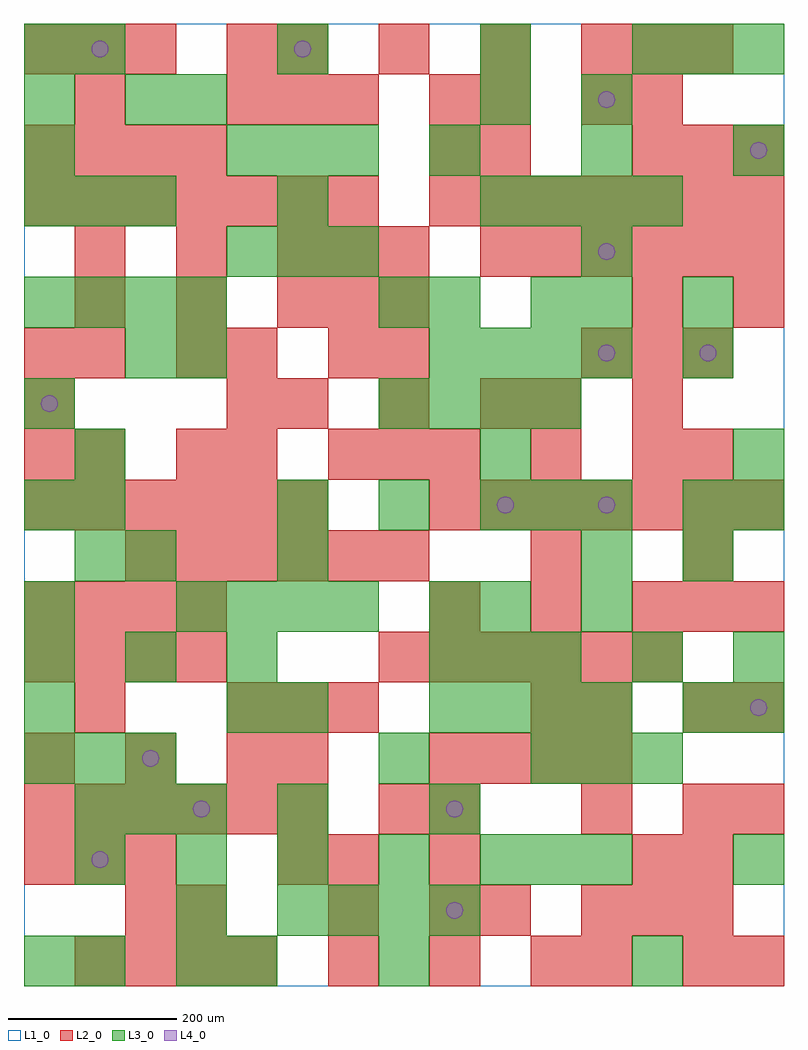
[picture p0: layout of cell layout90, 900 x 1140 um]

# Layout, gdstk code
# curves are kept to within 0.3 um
import gdstk
lib = gdstk.Library(unit=1e-6, precision=1e-09)
def R(c, l, rs):  # rectangles x0, y0, x1, y1
    for r in rs: c.add(gdstk.rectangle(r[:2], r[2:], *l))
def A(c, l, x, y, w, h, nx, ny, dx, dy):  # array of equal rectangles
    R(c, l, [(x+i*dx, y+j*dy, x+i*dx+w, y+j*dy+h) for i in range(nx) for j in range(ny)])
def P(c, l, *ps):  # polygons
    for p in ps: c.add(gdstk.Polygon(p, *l))
L1_0 = (1, 0)
L2_0 = (2, 0)
L3_0 = (3, 0)
L4_0 = (4, 0)

layout90 = lib.new_cell('layout90')
R(layout90, L1_0, [(0,0,900,1140)])
A(layout90, L2_0, 60, 0, 60, 60, 4, 1, 60, 0)
A(layout90, L2_0, 360, 0, 60, 60, 3, 1, 120, 0)
A(layout90, L2_0, 480, 60, 60, 60, 1, 3, 0, 60)
A(layout90, L2_0, 660, 60, 60, 60, 3, 2, 60, 660)
A(layout90, L2_0, 0, 120, 60, 60, 3, 2, 60, 960)
A(layout90, L2_0, 0, 180, 60, 60, 6, 2, 60, 360)
A(layout90, L2_0, 780, 180, 60, 60, 1, 3, 0, 120)
A(layout90, L2_0, 840, 180, 60, 60, 1, 3, 0, 120)
A(layout90, L2_0, 0, 240, 60, 60, 3, 1, 120, 0)
A(layout90, L2_0, 480, 240, 60, 60, 4, 1, 60, 0)
A(layout90, L2_0, 240, 300, 60, 60, 3, 2, 60, 720)
A(layout90, L2_0, 0, 360, 60, 60, 4, 2, 60, 60)
A(layout90, L2_0, 420, 360, 60, 60, 6, 1, 60, 0)
A(layout90, L2_0, 480, 420, 60, 60, 3, 1, 120, 0)
A(layout90, L2_0, 120, 480, 60, 60, 6, 1, 60, 0)
A(layout90, L2_0, 480, 540, 60, 60, 7, 2, 60, 360)
A(layout90, L2_0, 0, 600, 60, 60, 1, 3, 0, 60)
A(layout90, L2_0, 240, 600, 60, 60, 1, 3, 0, 60)
A(layout90, L2_0, 360, 600, 60, 60, 3, 1, 60, 0)
A(layout90, L2_0, 300, 660, 60, 60, 3, 1, 120, 0)
A(layout90, L2_0, 360, 720, 60, 60, 1, 3, 0, 60)
A(layout90, L2_0, 420, 720, 60, 60, 1, 3, 0, 60)
A(layout90, L2_0, 60, 780, 60, 60, 3, 2, 120, 60)
A(layout90, L2_0, 540, 840, 60, 60, 6, 1, 60, 0)
A(layout90, L2_0, 0, 900, 60, 60, 7, 1, 60, 0)
A(layout90, L2_0, 0, 960, 60, 60, 4, 1, 60, 0)
A(layout90, L2_0, 720, 960, 60, 60, 3, 1, 60, 0)
A(layout90, L2_0, 300, 1080, 60, 60, 4, 1, 120, 0)
R(layout90, L2_0, [(660,0,720,60), (780,0,840,60), (840,0,900,60), (120,60,180,120), (180,60,240,120), (360,60,420,120), (540,60,600,120), (300,120,360,180), (360,120,420,180), (720,120,780,180), (780,120,840,180), (420,180,480,240), (660,180,720,240), (300,240,360,300), (60,300,120,360), (600,300,660,360), (660,300,720,360), (600,480,660,540), (780,480,840,540), (60,600,120,660), (180,600,240,660), (600,600,660,660), (720,600,780,660), (780,600,840,660), (600,660,660,720), (720,660,780,720), (60,720,120,780), (180,720,240,780), (720,780,780,840), (840,780,900,840), (480,960,540,1020), (540,960,600,1020), (60,1020,120,1080), (480,1020,540,1080), (540,1020,600,1080), (660,1020,720,1080), (720,1020,780,1080), (240,1080,300,1140), (720,1080,780,1140), (780,1080,840,1140)])
A(layout90, L3_0, 300, 60, 60, 60, 4, 1, 60, 0)
A(layout90, L3_0, 60, 120, 60, 60, 5, 1, 120, 0)
A(layout90, L3_0, 60, 180, 60, 60, 3, 1, 60, 0)
A(layout90, L3_0, 0, 240, 60, 60, 3, 2, 60, 660)
A(layout90, L3_0, 600, 240, 60, 60, 3, 1, 60, 0)
A(layout90, L3_0, 0, 300, 60, 60, 1, 4, 0, 120)
A(layout90, L3_0, 480, 300, 60, 60, 4, 2, 60, 420)
A(layout90, L3_0, 0, 360, 60, 60, 3, 1, 120, 0)
A(layout90, L3_0, 480, 360, 60, 60, 3, 1, 60, 0)
A(layout90, L3_0, 180, 420, 60, 60, 4, 1, 60, 0)
A(layout90, L3_0, 660, 420, 60, 60, 1, 3, 0, 60)
A(layout90, L3_0, 60, 480, 60, 60, 1, 3, 0, 60)
A(layout90, L3_0, 300, 540, 60, 60, 3, 1, 120, 0)
A(layout90, L3_0, 420, 660, 60, 60, 4, 1, 60, 0)
A(layout90, L3_0, 0, 780, 60, 60, 4, 1, 60, 0)
A(layout90, L3_0, 240, 840, 60, 60, 3, 2, 60, 120)
A(layout90, L3_0, 540, 900, 60, 60, 4, 1, 60, 0)
A(layout90, L3_0, 0, 960, 60, 60, 1, 3, 0, 60)
A(layout90, L3_0, 480, 960, 60, 60, 3, 1, 180, 0)
A(layout90, L3_0, 60, 1080, 60, 60, 3, 1, 240, 0)
A(layout90, L3_0, 720, 1080, 60, 60, 3, 1, 60, 0)
R(layout90, L3_0, [(0,0,60,60), (60,0,120,60), (180,0,240,60), (240,0,300,60), (420,0,480,60), (720,0,780,60), (180,60,240,120), (600,120,660,180), (660,120,720,180), (840,120,900,180), (300,180,360,240), (480,180,540,240), (420,240,480,300), (240,300,300,360), (300,300,360,360), (780,300,840,360), (840,300,900,360), (720,360,780,420), (840,360,900,420), (480,420,540,480), (540,420,600,480), (120,480,180,540), (300,480,360,540), (780,480,840,540), (600,540,660,600), (780,540,840,600), (840,540,900,600), (540,600,600,660), (840,600,900,660), (120,720,180,780), (180,720,240,780), (780,720,840,780), (420,780,480,840), (480,780,540,840), (600,780,660,840), (660,780,720,840), (780,780,840,840), (660,840,720,900), (300,900,360,960), (120,1020,180,1080), (180,1020,240,1080), (540,1020,600,1080), (660,1020,720,1080)])
P(layout90, L4_0, [(40,690),(39.239,693.827),(37.071,697.071),(33.827,699.239),(30,700),(26.173,699.239),(22.929,697.071),(20.761,693.827),(20,690),(20.761,686.173),(22.929,682.929),(26.173,680.761),(30,680),(33.827,680.761),(37.071,682.929),(39.239,686.173)],
  [(100,150),(99.239,153.827),(97.071,157.071),(93.827,159.239),(90,160),(86.173,159.239),(82.929,157.071),(80.761,153.827),(80,150),(80.761,146.173),(82.929,142.929),(86.173,140.761),(90,140),(93.827,140.761),(97.071,142.929),(99.239,146.173)],
  [(100,1110),(99.239,1113.827),(97.071,1117.071),(93.827,1119.239),(90,1120),(86.173,1119.239),(82.929,1117.071),(80.761,1113.827),(80,1110),(80.761,1106.173),(82.929,1102.929),(86.173,1100.761),(90,1100),(93.827,1100.761),(97.071,1102.929),(99.239,1106.173)],
  [(160,270),(159.239,273.827),(157.071,277.071),(153.827,279.239),(150,280),(146.173,279.239),(142.929,277.071),(140.761,273.827),(140,270),(140.761,266.173),(142.929,262.929),(146.173,260.761),(150,260),(153.827,260.761),(157.071,262.929),(159.239,266.173)],
  [(220,210),(219.239,213.827),(217.071,217.071),(213.827,219.239),(210,220),(206.173,219.239),(202.929,217.071),(200.761,213.827),(200,210),(200.761,206.173),(202.929,202.929),(206.173,200.761),(210,200),(213.827,200.761),(217.071,202.929),(219.239,206.173)],
  [(340,1110),(339.239,1113.827),(337.071,1117.071),(333.827,1119.239),(330,1120),(326.173,1119.239),(322.929,1117.071),(320.761,1113.827),(320,1110),(320.761,1106.173),(322.929,1102.929),(326.173,1100.761),(330,1100),(333.827,1100.761),(337.071,1102.929),(339.239,1106.173)],
  [(520,90),(519.239,93.827),(517.071,97.071),(513.827,99.239),(510,100),(506.173,99.239),(502.929,97.071),(500.761,93.827),(500,90),(500.761,86.173),(502.929,82.929),(506.173,80.761),(510,80),(513.827,80.761),(517.071,82.929),(519.239,86.173)],
  [(520,210),(519.239,213.827),(517.071,217.071),(513.827,219.239),(510,220),(506.173,219.239),(502.929,217.071),(500.761,213.827),(500,210),(500.761,206.173),(502.929,202.929),(506.173,200.761),(510,200),(513.827,200.761),(517.071,202.929),(519.239,206.173)],
  [(580,570),(579.239,573.827),(577.071,577.071),(573.827,579.239),(570,580),(566.173,579.239),(562.929,577.071),(560.761,573.827),(560,570),(560.761,566.173),(562.929,562.929),(566.173,560.761),(570,560),(573.827,560.761),(577.071,562.929),(579.239,566.173)],
  [(700,570),(699.239,573.827),(697.071,577.071),(693.827,579.239),(690,580),(686.173,579.239),(682.929,577.071),(680.761,573.827),(680,570),(680.761,566.173),(682.929,562.929),(686.173,560.761),(690,560),(693.827,560.761),(697.071,562.929),(699.239,566.173)],
  [(700,750),(699.239,753.827),(697.071,757.071),(693.827,759.239),(690,760),(686.173,759.239),(682.929,757.071),(680.761,753.827),(680,750),(680.761,746.173),(682.929,742.929),(686.173,740.761),(690,740),(693.827,740.761),(697.071,742.929),(699.239,746.173)],
  [(700,870),(699.239,873.827),(697.071,877.071),(693.827,879.239),(690,880),(686.173,879.239),(682.929,877.071),(680.761,873.827),(680,870),(680.761,866.173),(682.929,862.929),(686.173,860.761),(690,860),(693.827,860.761),(697.071,862.929),(699.239,866.173)],
  [(700,1050),(699.239,1053.827),(697.071,1057.071),(693.827,1059.239),(690,1060),(686.173,1059.239),(682.929,1057.071),(680.761,1053.827),(680,1050),(680.761,1046.173),(682.929,1042.929),(686.173,1040.761),(690,1040),(693.827,1040.761),(697.071,1042.929),(699.239,1046.173)],
  [(820,750),(819.239,753.827),(817.071,757.071),(813.827,759.239),(810,760),(806.173,759.239),(802.929,757.071),(800.761,753.827),(800,750),(800.761,746.173),(802.929,742.929),(806.173,740.761),(810,740),(813.827,740.761),(817.071,742.929),(819.239,746.173)],
  [(880,330),(879.239,333.827),(877.071,337.071),(873.827,339.239),(870,340),(866.173,339.239),(862.929,337.071),(860.761,333.827),(860,330),(860.761,326.173),(862.929,322.929),(866.173,320.761),(870,320),(873.827,320.761),(877.071,322.929),(879.239,326.173)],
  [(880,990),(879.239,993.827),(877.071,997.071),(873.827,999.239),(870,1000),(866.173,999.239),(862.929,997.071),(860.761,993.827),(860,990),(860.761,986.173),(862.929,982.929),(866.173,980.761),(870,980),(873.827,980.761),(877.071,982.929),(879.239,986.173)])

lib.write_gds('layout90.gds')
